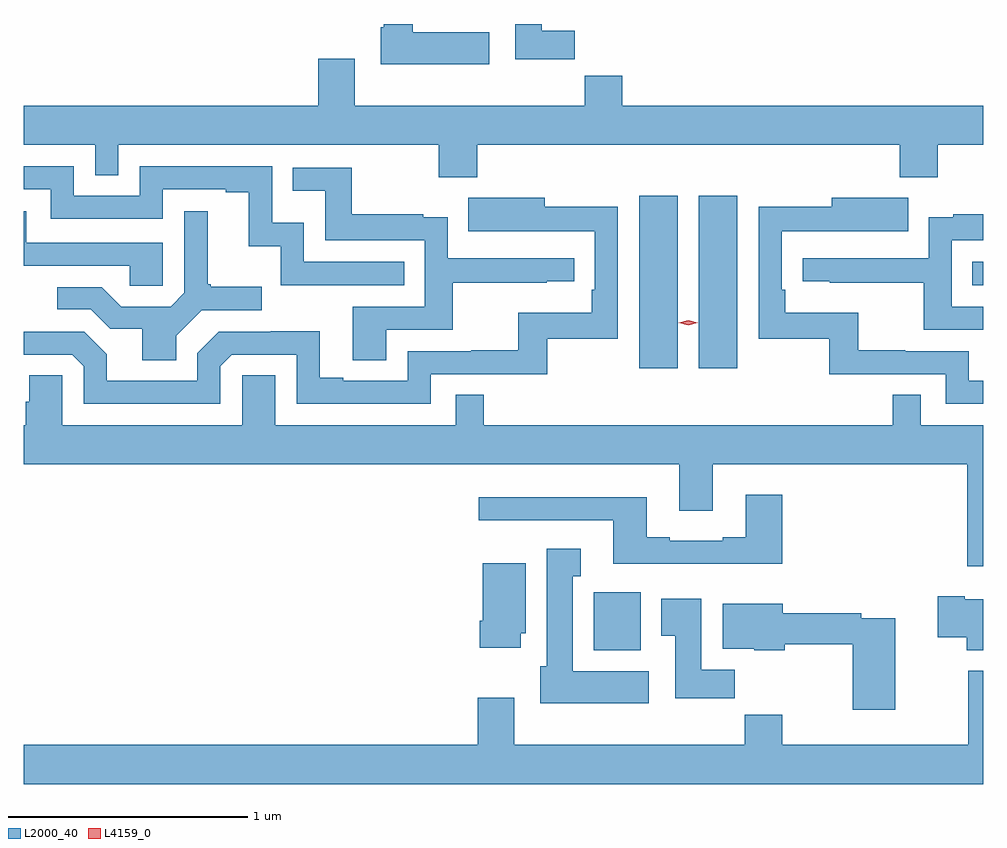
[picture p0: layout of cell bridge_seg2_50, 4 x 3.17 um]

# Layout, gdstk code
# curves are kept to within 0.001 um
import gdstk
lib = gdstk.Library(unit=1e-6, precision=1e-09)
def R(c, l, rs):  # rectangles x0, y0, x1, y1
    for r in rs: c.add(gdstk.rectangle(r[:2], r[2:], *l))
def P(c, l, *ps):  # polygons
    for p in ps: c.add(gdstk.Polygon(p, *l))
L2000_40 = (2000, 40)
L4159_0 = (4159, 0)

bridge_seg2_50 = lib.new_cell('bridge_seg2_50')
R(bridge_seg2_50, L2000_40, [(1107.308,657.518,1107.505,657.76), (1107.497,658.692,1107.658,659.413), (1107.746,658.692,1107.907,659.413), (1108.885,659.04,1108.932,659.136)])
P(bridge_seg2_50, L2000_40, [(1107.23,660.1),(1107.091,660.1),(1107.091,660.128),(1106.981,660.128),(1106.981,659.982),(1107.23,659.982)],
  [(1106.872,660.094),(1106.554,660.094),(1106.554,660.128),(1106.432,660.128),(1106.432,660.114),(1106.42,660.114),(1106.42,659.96),(1106.872,659.96)],
  [(1106.822,659.624),(1108.583,659.624),(1108.583,659.489),(1108.743,659.489),(1108.743,659.624),(1108.932,659.624),(1108.932,659.788),(1107.428,659.788),(1107.428,659.912),(1107.271,659.912),(1107.271,659.788),(1106.311,659.788),(1106.311,659.983),(1106.159,659.983),(1106.159,659.788),(1104.932,659.788),(1104.932,659.624),(1105.23,659.624),(1105.23,659.497),(1105.326,659.497),(1105.326,659.624),(1106.662,659.624),(1106.662,659.489),(1106.822,659.489)],
  [(1106.519,659.136),(1106.1,659.136),(1106.1,659.299),(1105.968,659.299),(1105.968,659.535),(1105.416,659.535),(1105.416,659.412),(1105.14,659.412),(1105.14,659.535),(1104.932,659.535),(1104.932,659.439),(1105.044,659.439),(1105.044,659.316),(1105.512,659.316),(1105.512,659.439),(1105.775,659.439),(1105.775,659.427),(1105.871,659.427),(1105.871,659.201),(1106.004,659.201),(1106.004,659.04),(1106.519,659.04)],
  [(1106.443,658.854),(1106.72,658.854),(1106.72,659.05),(1107.113,659.05),(1107.113,659.055),(1107.226,659.055),(1107.226,659.151),(1106.7,659.151),(1106.7,659.323),(1106.597,659.323),(1106.597,659.335),(1106.299,659.335),(1106.299,659.529),(1106.053,659.529),(1106.053,659.432),(1106.188,659.432),(1106.188,659.226),(1106.604,659.226),(1106.604,658.95),(1106.303,658.95),(1106.303,658.726),(1106.443,658.726)],
  [(1105.752,658.701),(1105.8,658.749),(1106.07,658.749),(1106.07,658.545),(1106.628,658.545),(1106.628,658.668),(1107.115,658.668),(1107.115,658.815),(1107.408,658.815),(1107.408,659.366),(1107.103,659.366),(1107.103,659.404),(1106.785,659.404),(1106.785,659.264),(1107.312,659.265),(1107.312,659.02),(1107.299,659.02),(1107.299,658.924),(1106.994,658.924),(1106.994,658.769),(1106.797,658.769),(1106.797,658.764),(1106.532,658.764),(1106.532,658.641),(1106.263,658.641),(1106.263,658.654),(1106.167,658.654),(1106.167,658.847),(1105.962,658.847),(1105.962,658.845),(1105.746,658.845),(1105.656,658.755),(1105.656,658.641),(1105.279,658.641),(1105.279,658.751),(1105.185,658.845),(1104.932,658.845),(1104.932,658.749),(1105.134,658.749),(1105.182,658.701),(1105.182,658.545),(1105.752,658.545)],
  [(1108.932,658.641),(1108.872,658.641),(1108.872,658.764),(1108.607,658.764),(1108.607,658.769),(1108.411,658.769),(1108.411,658.924),(1108.106,658.924),(1108.106,659.02),(1108.092,659.02),(1108.092,659.265),(1108.405,659.265),(1108.405,659.264),(1108.619,659.264),(1108.619,659.404),(1108.301,659.404),(1108.301,659.366),(1107.996,659.366),(1107.996,658.815),(1108.29,658.815),(1108.29,658.668),(1108.776,658.668),(1108.776,658.545),(1108.932,658.545)],
  [(1105.567,658.828),(1105.674,658.935),(1105.924,658.935),(1105.924,659.032),(1105.711,659.032),(1105.711,659.044),(1105.699,659.044),(1105.699,659.347),(1105.602,659.347),(1105.602,659.007),(1105.545,658.95),(1105.339,658.95),(1105.258,659.031),(1105.071,659.031),(1105.071,658.938),(1105.212,658.938),(1105.292,658.858),(1105.427,658.858),(1105.427,658.726),(1105.567,658.726)],
  [(1105.512,659.217),(1104.943,659.217),(1104.943,659.347),(1104.932,659.347),(1104.932,659.121),(1105.375,659.121),(1105.375,659.037),(1105.512,659.037)],
  [(1108.932,658.95),(1108.8,658.95),(1108.8,659.226),(1108.932,659.226),(1108.932,659.335),(1108.807,659.335),(1108.807,659.323),(1108.704,659.323),(1108.704,659.151),(1108.179,659.151),(1108.179,659.055),(1108.291,659.055),(1108.291,659.05),(1108.684,659.05),(1108.684,658.854),(1108.932,658.854)],
  [(1108.932,658.456),(1108.671,658.456),(1108.671,658.583),(1108.555,658.583),(1108.555,658.456),(1106.849,658.456),(1106.849,658.583),(1106.733,658.583),(1106.733,658.456),(1105.981,658.456),(1105.981,658.664),(1105.842,658.664),(1105.842,658.456),(1105.092,658.456),(1105.092,658.664),(1104.955,658.664),(1104.955,658.554),(1104.941,658.554),(1104.941,658.456),(1104.932,658.456),(1104.932,658.292),(1107.665,658.292),(1107.665,658.098),(1107.805,658.098),(1107.805,658.292),(1108.865,658.292),(1108.865,657.867),(1108.932,657.867)],
  [(1108.094,658.165),(1107.941,658.165),(1107.941,657.988),(1107.845,657.988),(1107.845,657.975),(1107.625,657.975),(1107.625,657.988),(1107.529,657.988),(1107.529,658.156),(1106.829,658.156),(1106.829,658.059),(1107.389,658.059),(1107.389,657.878),(1108.094,657.878)],
  [(1107.538,657.43),(1107.22,657.43),(1107.22,657.827),(1107.253,657.827),(1107.253,657.94),(1107.113,657.94),(1107.113,657.45),(1107.086,657.45),(1107.086,657.296),(1107.538,657.296)],
  [(1107.004,657.588),(1107.025,657.588),(1107.025,657.88),(1106.846,657.88),(1106.846,657.64),(1106.834,657.64),(1106.834,657.528),(1107.004,657.528)],
  [(1108.932,657.73),(1108.855,657.73),(1108.855,657.743),(1108.743,657.743),(1108.743,657.572),(1108.862,657.572),(1108.862,657.518),(1108.932,657.518)],
  [(1107.896,657.436),(1107.757,657.436),(1107.757,657.733),(1107.59,657.733),(1107.59,657.577),(1107.647,657.577),(1107.647,657.318),(1107.896,657.318)],
  [(1108.566,657.651),(1108.424,657.651),(1108.424,657.671),(1108.096,657.671),(1108.096,657.712),(1107.845,657.712),(1107.845,657.524),(1107.978,657.524),(1107.978,657.518),(1108.104,657.518),(1108.104,657.543),(1108.388,657.543),(1108.388,657.27),(1108.566,657.27)],
  [(1108.932,657.433),(1108.87,657.433),(1108.87,657.124),(1108.094,657.124),(1108.094,657.248),(1107.937,657.248),(1107.937,657.124),(1106.977,657.124),(1106.977,657.319),(1106.825,657.319),(1106.825,657.124),(1104.932,657.124),(1104.932,656.96),(1108.932,656.96)])
P(bridge_seg2_50, L4159_0, [(1107.702,658.873),(1107.662,658.882),(1107.662,658.883),(1107.662,658.883),(1107.702,658.893),(1107.742,658.883),(1107.742,658.883),(1107.742,658.882)])

lib.write_gds('bridge_seg2_50.gds')
